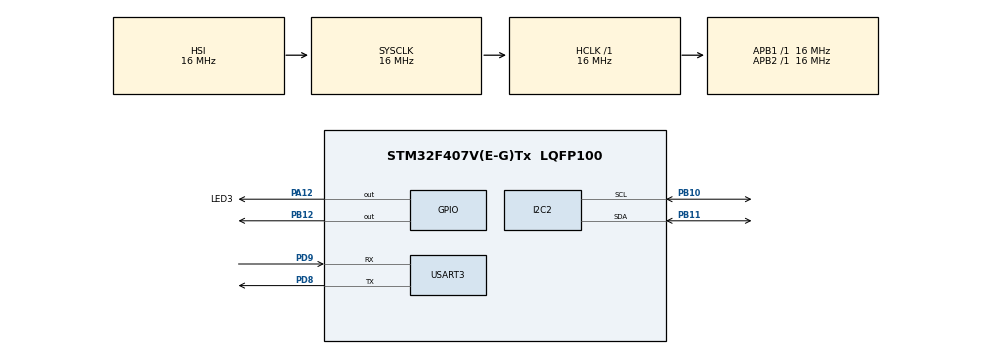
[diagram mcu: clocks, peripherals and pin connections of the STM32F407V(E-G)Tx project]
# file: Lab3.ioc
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Mcu.Family=STM32F4
Mcu.Name=STM32F407V(E-G)Tx
Mcu.Package=LQFP100
NVIC.PriorityGroup=NVIC_PRIORITYGROUP_4
PA12.GPIO_Label=LED3
PA12.Signal=GPIO_Output
PB10.Mode=I2C
PB10.Signal=I2C2_SCL
PB11.Mode=I2C
PB11.Signal=I2C2_SDA
PB12.Signal=GPIO_Output
PD8.Mode=Asynchronous
PD8.Signal=USART3_TX
PD9.Mode=Asynchronous
PD9.Signal=USART3_RX
ProjectManager.HeapSize=0x200
ProjectManager.StackSize=0x400
ProjectManager.TargetToolchain=STM32CubeIDE
RCC.AHBFreq_Value=16000000
RCC.APB1Freq_Value=16000000
RCC.APB2Freq_Value=16000000
RCC.CortexFreq_Value=16000000
RCC.HSE_VALUE=25000000
RCC.HSI_VALUE=16000000
RCC.LSE_VALUE=32768
RCC.SYSCLKFreq_VALUE=16000000
RCC.VCOOutputFreq_Value=192000000
USART3.VirtualMode=VM_ASYNC
board=custom

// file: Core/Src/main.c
/* USER CODE BEGIN Header */
/**
  ******************************************************************************
  * @file           : main.c
  * @brief          : Main program body
  ******************************************************************************
  * @attention
  *
  * Copyright (c) 2025 STMicroelectronics.
  * All rights reserved.
  *
  * This software is licensed under terms that can be found in the LICENSE file
  * in the root directory of this software component.
  * If no LICENSE file comes with this software, it is provided AS-IS.
  *
  ******************************************************************************
  */
/* USER CODE END Header */
#include "main.h"

/* USER CODE BEGIN Includes */
#include "MPU6050.h"
#include <math.h>
#include <stdio.h>
#include <string.h>
/* USER CODE END Includes */

 I2C_HandleTypeDef hi2c2;
IMU_Data imu1;
UART_HandleTypeDef huart3;

void SystemClock_Config(void);
static void MX_GPIO_Init(void);
static void MX_I2C2_Init(void);
static void MX_USART3_UART_Init(void);

int main(void)
{
  /* USER CODE BEGIN 1 */
	char sbuf[10];

  /* USER CODE END 1 */

  /* MCU Configuration--------------------------------------------------------*/

  /* Reset of all peripherals, Initializes the Flash interface and the Systick. */
  HAL_Init();

  /* Configure the system clock */
  SystemClock_Config();

  /* Initialize all configured peripherals */
  MX_GPIO_Init();
  MX_I2C2_Init();
  MX_USART3_UART_Init();
  /* USER CODE BEGIN 2 */
  // (optional) If you want to explicitly set the address here:
  IMU_ADDR = 0x68 << 1;   // only if it's not already set in MPU6050.c

  // Initialise the IMU
  uint8_t *status = IMU_Initialise(&imu1, &hi2c2, &huart3);
  if (status != 0) {
      // Error string is inside 'status'; you can send it to UART
      HAL_UART_Transmit(&huart3, status, strlen((char*)status), HAL_MAX_DELAY);
      while (1);  // Stop here
  }
  // Gyro variables
  float gyroRoll = 0, gyroPitch = 0, gyroYaw = 0;
  static uint32_t millisOld = 0;
  // Low-pass filter variables
  static float accX_filtered = 0;
  static float accY_filtered = 0;
  static float accZ_filtered = 0;
  float alpha = 0.1f;  // filter coefficient (0 < alpha < 1)
  // Complementary filter variables
  float compRoll = 0, compPitch = 0;
  float alpha_comp = 0.95f;

  // Kalman filter variables for Roll
  float kalmanRoll = 0; // This will be x_est_gyro
  // Kalman filter variables for Pitch
  float kalmanPitch = 0; // This will be x_est_gyro for pitch
  float kalmanGain = 0;

  float var_gyro = 4; // initial var of gyro
  const float var_acc = 9; // σ_acc^2
  /* USER CODE END 2 */

  /* Infinite loop */
  /* USER CODE BEGIN WHILE */
  while (1)
  {
	  HAL_GPIO_WritePin(GPIOA, GPIO_PIN_12, GPIO_PIN_SET);

	  // Read IMU
	  IMU_AccelRead(&imu1);
	  IMU_GyroRead(&imu1);
	  char newline[] = "\r\n";

//	  // Accelerometer XYZ
//	  for (int i = 0; i < 3; i++){
//		  sprintf(sbuf, "%5.2f, ", imu1.acc[i]);
//		  HAL_UART_Transmit(&huart3, sbuf, strlen(sbuf), HAL_MAX_DELAY);
//	  }

	  // Acce Roll and pitch w/o filter
	  float accRoll  = atan2f(imu1.acc[1], imu1.acc[2]) * (180.0f / M_PI);
	  float accPitch = atan2f(-imu1.acc[0], sqrtf(imu1.acc[1]*imu1.acc[1] + imu1.acc[2]*imu1.acc[2])) * (180.0f / M_PI);

//	  // Apply low-pass filter
//	  accX_filtered = alpha * imu1.acc[0] + (1 - alpha) * accX_filtered;
//	  accY_filtered = alpha * imu1.acc[1] + (1 - alpha) * accY_filtered;
//	  accZ_filtered = alpha * imu1.acc[2] + (1 - alpha) * accZ_filtered;

//	  // Acce Roll and pitch with filter
//	  float pitch = atan2f(-accX_filtered, sqrtf(accY_filtered*accY_filtered + accZ_filtered*accZ_filtered)) * (180.0f / M_PI);
//	  float roll  = atan2f(accY_filtered, accZ_filtered) * (180.0f / M_PI);

	  sprintf(sbuf, "%5.2f, %5.2f, ", accRoll, accPitch);
	  HAL_UART_Transmit(&huart3, sbuf, strlen(sbuf), HAL_MAX_DELAY);

//	  // Gyro XYZ
//	  for (int i = 0; i < 3; i++){
//		  sprintf(sbuf, "%5.2f, ", imu1.gyro[i]);
//		  HAL_UART_Transmit(&huart3, sbuf, strlen(sbuf), HAL_MAX_DELAY);
//	  }

	  // Time elapsed for gyro integration
	  uint32_t millisNow = HAL_GetTick();
	  float dt = (millisOld == 0) ? 0.01f : (millisNow - millisOld) * 0.001f; // in seconds
	  millisOld = millisNow;

	  // Gyro roll pitch yaw integration (degrees/s * dt = degrees)
	  gyroRoll  += imu1.gyro[0] * dt;
	  gyroPitch += imu1.gyro[1] * dt;
	  gyroYaw   += imu1.gyro[2] * dt;
	  // sprintf(sbuf, "%5.2f, %5.2f, %5.2f, ", gyroRoll, gyroPitch, gyroYaw);
	  sprintf(sbuf, "%5.2f, %5.2f, ", gyroRoll, gyroPitch);
	  HAL_UART_Transmit(&huart3, (uint8_t*)sbuf, strlen(sbuf), HAL_MAX_DELAY);

	  /* --- Complementary Filter Implementation --- */
	  // compRoll and compPitch are Θ[n-1]
	  // imu1.gyro[0] is ωG[n] for roll
	  // roll is ΘA[n] for roll
	  compRoll = alpha_comp * (compRoll + imu1.gyro[0] * dt) + (1 - alpha_comp) * accRoll;
	  compPitch = alpha_comp * (compPitch + imu1.gyro[1]) + (1 - alpha_comp) * accPitch;
//	  compRoll = alpha_comp * (compRoll + gyroRoll) + (1 - alpha_comp) * accRoll;
//	  compPitch = alpha_comp * (compPitch + gyroPitch) + (1 - alpha_comp) * accPitch;
	  sprintf(sbuf, "%5.2f, %5.2f, ", compRoll, compPitch);
	  HAL_UART_Transmit(&huart3, (uint8_t*)sbuf, strlen(sbuf), HAL_MAX_DELAY);

	  /* --- Kalman Filter Implementation --- */ //KALMAN FILTER HAS ERRORS
	  // --- Roll ---
//	  // Prediction step (based on gyro)
//	  kalmanRoll += imu1.gyro[1] * dt; // x_est_gyro at n based on n-1
//
//	  // Update step (correction based on accelerometer)
//	  float KG_roll = kalmanUncertaintyRoll / (kalmanUncertaintyRoll + var_acc);
//	  kalmanRoll = kalmanRoll + KG_roll * (roll - kalmanRoll);
//	  kalmanUncertaintyRoll = (1 - KG_roll) * kalmanUncertaintyRoll;
//
//	  // --- Pitch ---
//	  // Prediction step (based on gyro)
//	  kalmanPitch += imu1.gyro[0] * dt; // x_est_gyro at n based on n-1
//
//	  // Update step (correction based on accelerometer)
//	  float KG_pitch = kalmanUncertaintyPitch / (kalmanUncertaintyPitch + var_acc);
//	  kalmanPitch = kalmanPitch + KG_pitch * (pitch - kalmanPitch);
//	  kalmanUncertaintyPitch = (1 - KG_pitch) * kalmanUncertaintyPitch;

//	  // Kalman filter variables for Roll
//	  float kalmanRoll = 0; // This will be x_est_gyro
//	  // Kalman filter variables for Pitch
//	  float kalmanPitch = 0; // This will be x_est_gyro for pitch
//
//	  float var_gyro = 4; // initial var of gyro
//	  const float var_acc = 9; // σ_acc^2

	  /* --- Kalman Filter Implementation --- */
	  kalmanRoll += imu1.gyro[0] * dt; // predict new gyro Roll
	  kalmanPitch += imu1.gyro[1] * dt; // predict new gyro Pitch

	  var_gyro = var_gyro + 16 * (dt*dt); // calculate new var_gyro from new readings
	  kalmanGain = var_gyro/(var_gyro+var_acc); // calculate KG

	  kalmanRoll = kalmanRoll + kalmanGain*(accRoll - kalmanRoll); //update Roll
	  kalmanPitch = kalmanPitch + kalmanGain*(accPitch - kalmanPitch); // update Pitch
	  var_gyro = (1-kalmanGain) * var_gyro; // correct uncertainty of gyro
	  sprintf(sbuf, "%5.2f, %5.2f, ", kalmanRoll, kalmanPitch);
	  HAL_UART_Transmit(&huart3, (uint8_t*)sbuf, strlen(sbuf), HAL_MAX_DELAY);

	  HAL_UART_Transmit(&huart3, (uint8_t*)newline,
	  	                        strlen(newline), HAL_MAX_DELAY);
	  HAL_GPIO_WritePin(GPIOA, GPIO_PIN_12, GPIO_PIN_RESET);

	  // Optional slowing down the reading
	  HAL_Delay(100);

    /* USER CODE END WHILE */

  }
}

void SystemClock_Config(void)
{
  RCC_OscInitTypeDef RCC_OscInitStruct = {0};
  RCC_ClkInitTypeDef RCC_ClkInitStruct = {0};

  /** Configure the main internal regulator output voltage
  */
  __HAL_RCC_PWR_CLK_ENABLE();
  __HAL_PWR_VOLTAGESCALING_CONFIG(PWR_REGULATOR_VOLTAGE_SCALE1);

  /** Initializes the RCC Oscillators according to the specified parameters
  * in the RCC_OscInitTypeDef structure.
  */
  RCC_OscInitStruct.OscillatorType = RCC_OSCILLATORTYPE_HSI;
  RCC_OscInitStruct.HSIState = RCC_HSI_ON;
  RCC_OscInitStruct.HSICalibrationValue = RCC_HSICALIBRATION_DEFAULT;
  RCC_OscInitStruct.PLL.PLLState = RCC_PLL_NONE;
  if (HAL_RCC_OscConfig(&RCC_OscInitStruct) != HAL_OK)
  {
    Error_Handler();
  }

  /** Initializes the CPU, AHB and APB buses clocks
  */
  RCC_ClkInitStruct.ClockType = RCC_CLOCKTYPE_HCLK|RCC_CLOCKTYPE_SYSCLK
                              |RCC_CLOCKTYPE_PCLK1|RCC_CLOCKTYPE_PCLK2;
  RCC_ClkInitStruct.SYSCLKSource = RCC_SYSCLKSOURCE_HSI;
  RCC_ClkInitStruct.AHBCLKDivider = RCC_SYSCLK_DIV1;
  RCC_ClkInitStruct.APB1CLKDivider = RCC_HCLK_DIV1;
  RCC_ClkInitStruct.APB2CLKDivider = RCC_HCLK_DIV1;

  if (HAL_RCC_ClockConfig(&RCC_ClkInitStruct, FLASH_LATENCY_0) != HAL_OK)
  {
    Error_Handler();
  }
}

static void MX_I2C2_Init(void)
{

  hi2c2.Instance = I2C2;
  hi2c2.Init.ClockSpeed = 100000;
  hi2c2.Init.DutyCycle = I2C_DUTYCYCLE_2;
  hi2c2.Init.OwnAddress1 = 0;
  hi2c2.Init.AddressingMode = I2C_ADDRESSINGMODE_7BIT;
  hi2c2.Init.DualAddressMode = I2C_DUALADDRESS_DISABLE;
  hi2c2.Init.OwnAddress2 = 0;
  hi2c2.Init.GeneralCallMode = I2C_GENERALCALL_DISABLE;
  hi2c2.Init.NoStretchMode = I2C_NOSTRETCH_DISABLE;
  if (HAL_I2C_Init(&hi2c2) != HAL_OK)
  {
    Error_Handler();
  }

}

static void MX_USART3_UART_Init(void)
{

  huart3.Instance = USART3;
  huart3.Init.BaudRate = 115200;
  huart3.Init.WordLength = UART_WORDLENGTH_8B;
  huart3.Init.StopBits = UART_STOPBITS_1;
  huart3.Init.Parity = UART_PARITY_NONE;
  huart3.Init.Mode = UART_MODE_TX_RX;
  huart3.Init.HwFlowCtl = UART_HWCONTROL_NONE;
  huart3.Init.OverSampling = UART_OVERSAMPLING_16;
  if (HAL_UART_Init(&huart3) != HAL_OK)
  {
    Error_Handler();
  }

}

static void MX_GPIO_Init(void)
{
  GPIO_InitTypeDef GPIO_InitStruct = {0};

  /* GPIO Ports Clock Enable */
  __HAL_RCC_GPIOB_CLK_ENABLE();
  __HAL_RCC_GPIOD_CLK_ENABLE();
  __HAL_RCC_GPIOA_CLK_ENABLE();

  /*Configure GPIO pin Output Level */
  HAL_GPIO_WritePin(GPIOB, GPIO_PIN_12, GPIO_PIN_RESET);

  /*Configure GPIO pin Output Level */
  HAL_GPIO_WritePin(LED3_GPIO_Port, LED3_Pin, GPIO_PIN_RESET);

  /*Configure GPIO pin : PB12 */
  GPIO_InitStruct.Pin = GPIO_PIN_12;
  GPIO_InitStruct.Mode = GPIO_MODE_OUTPUT_PP;
  GPIO_InitStruct.Pull = GPIO_NOPULL;
  GPIO_InitStruct.Speed = GPIO_SPEED_FREQ_LOW;
  HAL_GPIO_Init(GPIOB, &GPIO_InitStruct);

  /*Configure GPIO pin : LED3_Pin */
  GPIO_InitStruct.Pin = LED3_Pin;
  GPIO_InitStruct.Mode = GPIO_MODE_OUTPUT_PP;
  GPIO_InitStruct.Pull = GPIO_NOPULL;
  GPIO_InitStruct.Speed = GPIO_SPEED_FREQ_LOW;
  HAL_GPIO_Init(LED3_GPIO_Port, &GPIO_InitStruct);

}

void Error_Handler(void)
{
  __disable_irq();
  while (1)
  {
  }
}
